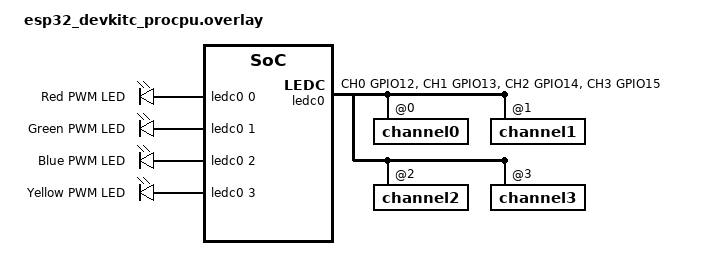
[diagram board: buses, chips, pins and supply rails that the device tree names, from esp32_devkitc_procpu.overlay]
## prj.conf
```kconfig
# Networking
CONFIG_NETWORKING=y
CONFIG_NET_SOCKETS=y
CONFIG_NET_TCP=y
CONFIG_NET_IPV4=y
CONFIG_NET_DHCPV4=y

# Wi-Fi
CONFIG_WIFI=y
CONFIG_WIFI_ESP32=y
CONFIG_NET_L2_WIFI_MGMT=y
CONFIG_ESP32_WIFI_STA_AUTO_DHCPV4=y

# MQTT
CONFIG_MQTT_LIB=y
CONFIG_MQTT_KEEPALIVE=60

# Logging
CONFIG_LOG=y
CONFIG_LOG_DEFAULT_LEVEL=3
CONFIG_LOG_BUFFER_SIZE=1024
CONFIG_LOG_MODE_DEFERRED=y

# Kernel
CONFIG_MAIN_STACK_SIZE=4096
CONFIG_HEAP_MEM_POOL_SIZE=46336

# Debug extra (opcional)
CONFIG_ASSERT=y

# Outras configurações úteis
CONFIG_NEWLIB_LIBC=y
CONFIG_NEWLIB_LIBC_FLOAT_PRINTF=y
CONFIG_POSIX_API=y

CONFIG_NET_BUF_DATA_SIZE=256
CONFIG_NET_PKT_RX_COUNT=16
CONFIG_NET_PKT_TX_COUNT=16
CONFIG_NET_BUF_RX_COUNT=16
CONFIG_NET_BUF_TX_COUNT=16

CONFIG_GPIO=y
CONFIG_PWM=y
```

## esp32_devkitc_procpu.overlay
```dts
#include <zephyr/dt-bindings/pwm/pwm.h>

/ {
    aliases {
        servo1 = &pwm_led_red;
        servo2 = &pwm_led_green;
        servo3 = &pwm_led_blue;
        servo4 = &pwm_led_yellow;
    };
	pwmleds {
		compatible = "pwm-leds";
		pwm_led_red: pwm_led_0 {
			label = "Red PWM LED";
			pwms = <&ledc0 0 PWM_HZ(50) PWM_POLARITY_NORMAL>;
		};
		pwm_led_green: pwm_led_1 {
			label = "Green PWM LED";
			pwms = <&ledc0 1 PWM_HZ(50) PWM_POLARITY_NORMAL>;
		};
		pwm_led_blue: pwm_led_2 {
			label = "Blue PWM LED";
			pwms = <&ledc0 2 PWM_HZ(50) PWM_POLARITY_NORMAL>;
		};
		pwm_led_yellow: pwm_led_3 {
			label = "Yellow PWM LED";
			pwms = <&ledc0 3 PWM_HZ(50) PWM_POLARITY_NORMAL>;
		};
	};
};

&pinctrl {

	ledc0_default: ledc0_default {
		group1 {
			pinmux = <LEDC_CH0_GPIO12>,
				 <LEDC_CH1_GPIO13>,
				 <LEDC_CH2_GPIO14>,
				 <LEDC_CH3_GPIO15>;
			output-enable;
		};
	};

};

&ledc0 {
	pinctrl-0 = <&ledc0_default>;
	pinctrl-names = "default";
	status = "okay";
	#address-cells = <1>;
	#size-cells = <0>;
	channel0@0 {
		reg = <0x0>;
		timer = <0>;
	};
	channel1@1 {
		reg = <0x1>;
		timer = <1>;
	};
	channel2@2 {
		reg = <0x2>;
		timer = <2>;
	};
	channel3@3 {
		reg = <0x3>;
		timer = <3>;
	};
};
```

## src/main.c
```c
#include <zephyr/kernel.h>
#include <zephyr/logging/log.h>
#include <zephyr/net/wifi.h>
#include <zephyr/net/wifi_mgmt.h>
#include <zephyr/net/net_event.h>
#include <zephyr/net/net_if.h>
#include <zephyr/net/mqtt.h>
#include <zephyr/net/socket.h>
#include <zephyr/net/net_ip.h>
#include <zephyr/drivers/pwm.h>
#include <string.h>
#include <stdio.h>

LOG_MODULE_REGISTER(main, LOG_LEVEL_DBG);

#define WIFI_SSID           "WIFI"
#define WIFI_PASSWORD       "SENHA"
#define MQTT_KEEPALIVE      60
#define MQTT_BROKER_IP      "192.168.1.108"
#define MQTT_BROKER_PORT    1883

#define PWM_PERIOD          PWM_USEC(20000)
#define SERVO_DEFAULT_US    PWM_USEC(1500)

#define SERVO1_OPEN_US      PWM_USEC(1555)
#define SERVO1_CLOSE_US     PWM_USEC(2000)

#define SERVO2_DOWN_US      PWM_USEC(1900)
#define SERVO2_UP_US        PWM_USEC(1500)

#define SERVO3_DOWN_US      PWM_USEC(1900)
#define SERVO3_UP_US        PWM_USEC(1500)

#define SERVO4_LEFT_US      PWM_USEC(1800)
#define SERVO4_RIGHT_US     PWM_USEC(1200)

static const struct pwm_dt_spec servo1 = PWM_DT_SPEC_GET(DT_ALIAS(servo1));
static const struct pwm_dt_spec servo2 = PWM_DT_SPEC_GET(DT_ALIAS(servo2));
static const struct pwm_dt_spec servo3 = PWM_DT_SPEC_GET(DT_ALIAS(servo3));
static const struct pwm_dt_spec servo4 = PWM_DT_SPEC_GET(DT_ALIAS(servo4));

static uint32_t current_pulse_servo1 = SERVO1_OPEN_US;
static struct mqtt_client client;
static struct sockaddr_storage broker;
static bool wifi_connected = false;
static uint8_t rx_buffer[256];
static uint8_t tx_buffer[256];
static struct net_mgmt_event_callback wifi_mgmt_cb;

void move_servo_smoothly(const struct pwm_dt_spec *servo, uint32_t from_us, uint32_t to_us, int steps, int delay_ms) {
    if (from_us == to_us) return;
    int32_t delta = (int32_t)(to_us - from_us);
    int32_t step_size = delta / steps;
    int32_t current = from_us;

    for (int i = 0; i < steps; i++) {
        pwm_set_pulse_dt(servo, current);
        current += step_size;
        k_sleep(K_MSEC(delay_ms));
    }
    pwm_set_pulse_dt(servo, to_us);
}

void mqtt_evt_handler(struct mqtt_client *const c, const struct mqtt_evt *evt) {
    switch (evt->type) {
    case MQTT_EVT_CONNACK:
        LOG_INF("MQTT client connected!");
        struct mqtt_topic subscribe_topic = {
            .topic = {
                .utf8 = "meutopico/comandos",
                .size = strlen("meutopico/comandos")
            },
            .qos = MQTT_QOS_1_AT_LEAST_ONCE
        };
        struct mqtt_subscription_list sub_list = {
            .list = &subscribe_topic,
            .list_count = 1,
            .message_id = 1
        };
        mqtt_subscribe(&client, &sub_list);
        break;

    case MQTT_EVT_DISCONNECT:
        LOG_INF("MQTT client disconnected, retrying in 5s");
        mqtt_disconnect(&client, false);
        k_sleep(K_SECONDS(5));
        break;

    case MQTT_EVT_PUBLISH: {
        const struct mqtt_publish_param *p = &evt->param.publish;
        uint8_t payload_buf[256];
        int len = mqtt_read_publish_payload(c, payload_buf, sizeof(payload_buf));

        if (len > 0) {
            payload_buf[len] = '\0';
            LOG_INF("Mensagem recebida: %s", payload_buf);

            if (strstr(payload_buf, "Vermelho")) {
                move_servo_smoothly(&servo1, current_pulse_servo1, SERVO1_OPEN_US, 50, 30);
                current_pulse_servo1 = SERVO1_OPEN_US;
                move_servo_smoothly(&servo2, SERVO2_UP_US, SERVO2_DOWN_US, 50, 30);
                move_servo_smoothly(&servo3, SERVO3_UP_US, SERVO3_DOWN_US, 50, 30);
                move_servo_smoothly(&servo1, current_pulse_servo1, SERVO1_CLOSE_US, 50, 30);
                current_pulse_servo1 = SERVO1_CLOSE_US;
                move_servo_smoothly(&servo2, SERVO2_DOWN_US, SERVO2_UP_US, 50, 30);
                move_servo_smoothly(&servo3, SERVO3_DOWN_US, SERVO3_UP_US, 50, 30);
            } else if (strstr(payload_buf, "Amarelo")) {
                move_servo_smoothly(&servo4, SERVO_DEFAULT_US, SERVO4_LEFT_US, 50, 30);
            } else if (strstr(payload_buf, "Azul")) {
                move_servo_smoothly(&servo4, SERVO_DEFAULT_US, SERVO4_RIGHT_US, 50, 30);
            } else if (strstr(payload_buf, "Verde")) {
                move_servo_smoothly(&servo1, current_pulse_servo1, SERVO_DEFAULT_US, 50, 30);
                current_pulse_servo1 = SERVO_DEFAULT_US;
                move_servo_smoothly(&servo2, SERVO2_UP_US, SERVO_DEFAULT_US, 50, 30);
                move_servo_smoothly(&servo3, SERVO3_UP_US, SERVO_DEFAULT_US, 50, 30);
                move_servo_smoothly(&servo4, SERVO_DEFAULT_US, SERVO_DEFAULT_US, 1, 30);
            } else {
                LOG_WRN("Comando desconhecido: %s", payload_buf);
            }

            if (p->message.topic.qos == MQTT_QOS_1_AT_LEAST_ONCE) {
                struct mqtt_puback_param ack = {
                    .message_id = evt->param.publish.message_id
                };
                mqtt_publish_qos1_ack(c, &ack);
            }
        }
        break;
    }

    default:
        break;
    }
}

void mqtt_init_and_connect(void) {
    struct mqtt_utf8 broker_host = {
        .utf8 = MQTT_BROKER_IP,
        .size = strlen(MQTT_BROKER_IP),
    };

    struct sockaddr_in *broker4 = (struct sockaddr_in *)&broker;
    broker4->sin_family = AF_INET;
    broker4->sin_port = htons(MQTT_BROKER_PORT);
    net_addr_pton(AF_INET, broker_host.utf8, &broker4->sin_addr);

    mqtt_client_init(&client);
    client.broker = &broker;
    client.client_id.utf8 = "zephyr_client";
    client.client_id.size = strlen(client.client_id.utf8);
    client.protocol_version = MQTT_VERSION_3_1_1;
    client.transport.type = MQTT_TRANSPORT_NON_SECURE;
    client.keepalive = MQTT_KEEPALIVE;
    client.rx_buf = rx_buffer;
    client.rx_buf_size = sizeof(rx_buffer);
    client.tx_buf = tx_buffer;
    client.tx_buf_size = sizeof(tx_buffer);
    client.evt_cb = mqtt_evt_handler;

    mqtt_connect(&client);
}

static void wifi_mgmt_event_handler(struct net_mgmt_event_callback *cb, uint32_t mgmt_event, struct net_if *iface) {
    const struct wifi_status *status = cb->info;

    switch (mgmt_event) {
    case NET_EVENT_WIFI_CONNECT_RESULT:
        if (!status->status) {
            wifi_connected = true;
            mqtt_init_and_connect();
        }
        break;
    case NET_EVENT_WIFI_DISCONNECT_RESULT:
        wifi_connected = false;
        break;
    default:
        break;
    }
}

int main(void) {
    if (!device_is_ready(servo1.dev) || !device_is_ready(servo2.dev) ||
        !device_is_ready(servo3.dev) || !device_is_ready(servo4.dev)) {
        return 0;
    }

    pwm_set_pulse_dt(&servo1, SERVO1_OPEN_US);
    pwm_set_pulse_dt(&servo2, SERVO2_UP_US);
    pwm_set_pulse_dt(&servo3, SERVO3_UP_US);
    pwm_set_pulse_dt(&servo4, SERVO_DEFAULT_US);
    current_pulse_servo1 = SERVO1_OPEN_US;

    struct net_if *iface = net_if_get_default();
    struct wifi_connect_req_params cnx_params = {
        .ssid = WIFI_SSID,
        .ssid_length = strlen(WIFI_SSID),
        .psk = WIFI_PASSWORD,
        .psk_length = strlen(WIFI_PASSWORD),
        .channel = WIFI_CHANNEL_ANY,
        .security = WIFI_SECURITY_TYPE_PSK,
    };

    net_mgmt_init_event_callback(&wifi_mgmt_cb,
                                 wifi_mgmt_event_handler,
                                 NET_EVENT_WIFI_CONNECT_RESULT |
                                 NET_EVENT_WIFI_DISCONNECT_RESULT);
    net_mgmt_add_event_callback(&wifi_mgmt_cb);

    net_mgmt(NET_REQUEST_WIFI_CONNECT, iface,
             &cnx_params, sizeof(cnx_params));

    while (1) {
        if (wifi_connected) {
            mqtt_input(&client);
            mqtt_live(&client);
        }
        k_sleep(K_MSEC(1000));
    }
}
```
